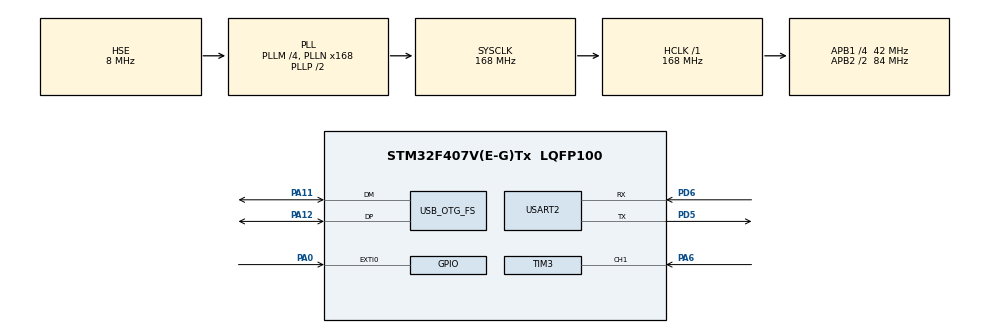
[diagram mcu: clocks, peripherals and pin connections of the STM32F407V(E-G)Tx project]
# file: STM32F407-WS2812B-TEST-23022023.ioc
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Dma.Request0=USART2_RX
Dma.USART2_RX.0.Direction=DMA_PERIPH_TO_MEMORY
Dma.USART2_RX.0.FIFOMode=DMA_FIFOMODE_DISABLE
Dma.USART2_RX.0.Instance=DMA1_Stream5
Dma.USART2_RX.0.MemDataAlignment=DMA_MDATAALIGN_BYTE
Dma.USART2_RX.0.MemInc=DMA_MINC_ENABLE
Dma.USART2_RX.0.Mode=DMA_NORMAL
Dma.USART2_RX.0.PeriphDataAlignment=DMA_PDATAALIGN_BYTE
Dma.USART2_RX.0.PeriphInc=DMA_PINC_DISABLE
Dma.USART2_RX.0.Priority=DMA_PRIORITY_LOW
Mcu.Family=STM32F4
Mcu.Name=STM32F407V(E-G)Tx
Mcu.Package=LQFP100
NVIC.DMA1_Stream5_IRQn=true\:0\:0\:false\:false\:true\:false\:true\:true
NVIC.EXTI0_IRQn=true\:0\:0\:false\:false\:true\:true\:true\:true
NVIC.OTG_FS_IRQn=true\:0\:0\:false\:false\:true\:false\:true\:true
NVIC.PriorityGroup=NVIC_PRIORITYGROUP_4
NVIC.TIM3_IRQn=true\:0\:0\:false\:false\:true\:true\:true\:true
NVIC.USART2_IRQn=true\:0\:0\:false\:false\:true\:true\:true\:true
PA0-WKUP.GPIO_ModeDefaultEXTI=GPIO_MODE_IT_RISING
PA0-WKUP.GPIO_PuPd=GPIO_PULLDOWN
PA0-WKUP.Signal=GPXTI0
PA11.Mode=Device_Only
PA11.Signal=USB_OTG_FS_DM
PA12.Mode=Device_Only
PA12.Signal=USB_OTG_FS_DP
PA13.Mode=Trace_Asynchronous_SW
PA13.Signal=SYS_JTMS-SWDIO
PA14.Mode=Trace_Asynchronous_SW
PA14.Signal=SYS_JTCK-SWCLK
PA6.GPIO_PuPd=GPIO_PULLUP
PA6.GPIO_Speed=GPIO_SPEED_FREQ_MEDIUM
PA6.Signal=S_TIM3_CH1
PB3.Mode=Trace_Asynchronous_SW
PB3.Signal=SYS_JTDO-SWO
PD5.Mode=Asynchronous
PD5.Signal=USART2_TX
PD6.Mode=Asynchronous
PD6.Signal=USART2_RX
PH0-OSC_IN.Mode=HSE-External-Oscillator
PH0-OSC_IN.Signal=RCC_OSC_IN
PH1-OSC_OUT.Mode=HSE-External-Oscillator
PH1-OSC_OUT.Signal=RCC_OSC_OUT
ProjectManager.HeapSize=0x200
ProjectManager.StackSize=0x400
ProjectManager.TargetToolchain=STM32CubeIDE
RCC.48MHZClocksFreq_Value=48000000
RCC.AHBFreq_Value=168000000
RCC.APB1CLKDivider=RCC_HCLK_DIV4
RCC.APB1Freq_Value=42000000
RCC.APB1TimFreq_Value=84000000
RCC.APB2CLKDivider=RCC_HCLK_DIV2
RCC.APB2Freq_Value=84000000
RCC.APB2TimFreq_Value=168000000
RCC.CortexFreq_Value=168000000
RCC.HCLKFreq_Value=168000000
RCC.HSE_VALUE=8000000
RCC.HSI_VALUE=16000000
RCC.LSE_VALUE=32768
RCC.PLLM=4
RCC.PLLN=168
RCC.PLLQ=7
RCC.SYSCLKFreq_VALUE=168000000
RCC.SYSCLKSource=RCC_SYSCLKSOURCE_PLLCLK
RCC.VCOOutputFreq_Value=336000000
SH.S_TIM3_CH1.0=TIM3_CH1,Input_Capture1_from_TI1
TIM3.Channel-Input_Capture1_from_TI1=TIM_CHANNEL_1
TIM3.ICFilter_CH1=15
TIM3.ICPolarity_CH1=TIM_INPUTCHANNELPOLARITY_FALLING
TIM3.Prescaler=84
USART2.VirtualMode=VM_ASYNC
USB_DEVICE.CLASS_NAME_FS=CDC
USB_DEVICE.PRODUCT_STRING_CDC_FS=STM32 NEOPIXEL DRIVER
USB_DEVICE.USBD_MAX_STR_DESC_SIZ-CDC_FS=64
USB_DEVICE.VirtualMode-CDC_FS=Cdc
USB_DEVICE.VirtualModeFS=Cdc_FS
USB_OTG_FS.VirtualMode=Device_Only
VP_TIM1_VS_ClockSourceINT.Mode=Internal
VP_TIM3_VS_ClockSourceINT.Mode=Internal
VP_USB_DEVICE_VS_USB_DEVICE_CDC_FS.Mode=CDC_FS
board=custom

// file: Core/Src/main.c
/* USER CODE BEGIN Header */
/**
  ******************************************************************************
  * @file           : main.c
  * @brief          : Main program body
  ******************************************************************************
  * @attention
  *
  * Copyright (c) 2023 STMicroelectronics.
  * All rights reserved.
  *
  * This software is licensed under terms that can be found in the LICENSE file
  * in the root directory of this software component.
  * If no LICENSE file comes with this software, it is provided AS-IS.
  *
  ******************************************************************************
  */
/* USER CODE END Header */
#include "main.h"
#include "usb_device.h"

/* USER CODE BEGIN Includes */
//#include "visEffect.h"
#include "usbd_cdc_if.h"
#include "ws2812b.h"
#include "nonvmem.h"
#include "irDecoder.h"
#include <stdint.h>
#include <stdlib.h>
#include <stdio.h>
#include <string.h>
#include "ledEffects.h"
/* USER CODE END Includes */

TIM_HandleTypeDef htim1;
TIM_HandleTypeDef htim3;

UART_HandleTypeDef huart2;
DMA_HandleTypeDef hdma_usart2_rx;

/* USER CODE BEGIN PV */
#define UART_BUFF_SIZE 50
 uint8_t UART_DmaBuffer[UART_BUFF_SIZE];
 uint8_t UART_CpltBuffer[UART_BUFF_SIZE];
  uint8_t UART_GET_IR_SENTENCE[6] = {'G', 'E', 'T', '_', 'I','R'};
  uint8_t UART_GET_IR_RESPONSE[] = {'\n', 'W','A','I','T','I','N','G', '_', 'F','O', 'R', '_', 'I', 'R', '\n'};
  uint8_t UART_ROUTINES_READ_SENTENCE[13] =
 	 {'R', 'O', 'U', 'T', 'I', 'N', 'E', 'S', '_', 'R', 'E', 'A', 'D'};
  uint8_t UART_ROUTINES_WRITE_SENTENCE[14] =
  	 {'R', 'O', 'U', 'T', 'I', 'N', 'E', 'S', '_', 'W', 'R', 'I', 'T', 'E'};
  uint8_t UART_ROUTINES_WRITE_RESPONSE[] = {'\n', 'W','A','I','T','I','N','G'};
  uint8_t UART_ROUTINES_SAVE_SENTENCE[11] =
   	 {'M', 'E', 'M', 'O', 'R', 'Y', '_', 'S', 'A', 'V', 'E'};
  uint8_t UART_ROUTINES_PURGE_SAVED_SENTENCE[9] =
   	 {'P', 'U', 'R', 'G', 'E', '_', 'M', 'E', 'M'};
  uint8_t UART_SET_TIME[] = {'S', 'E', 'T', '_', 'T', 'I', 'M', 'E'};
  uint8_t *UART_SET_TIME_RESPONSE = "Example: - For date&time Thursday, December 25, 2014 22:05:12, you have to use string below: 25.12.14.4;22:05:12";

  uint8_t UART_RESPONSE_OK[] = {'\n', 'o', 'k'};
  uint8_t UART_RESPONSE_END[] = {'\n','o', 'k', '_', 'e', 'n','d'};

  uint8_t UART_SENTENCE_TAIL_BYTES = 2;
  uint8_t UART_SENTENCE_HEAD_BYTES = 3;
volatile uint16_t UART_BytesReceived = 0;

uint8_t GET_IR_FLAG = 0;
uint8_t ROUTINES_WRITE_FLAG = 0;
uint8_t SET_TIME_FLAG = 0;
// Saving Variables
uint8_t SAVING_IR_POS = 0, SAVING_TIME_POS = 0;

/* USER CODE END PV */

void SystemClock_Config(void);
static void MX_GPIO_Init(void);
static void MX_DMA_Init(void);
static void MX_TIM1_Init(void);
static void MX_TIM3_Init(void);
static void MX_USART2_UART_Init(void);
/* USER CODE BEGIN PFP */

uint8_t USB_RX_BUFF[64];
uint8_t USB_RX_BYTES_RECEIVED = 0;

void HAL_GPIO_EXTI_Callback(uint16_t GPIO_Pin)
{
  if( ACTIVE_EFFECT_NB == 0)
  {
	  ACTIVE_EFFECT_TYPE = 1;
	  ACTIVE_EFFECT_NB = 1;
  }else
  {
	  ACTIVE_EFFECT_TYPE = 0;
	  ACTIVE_EFFECT_NB = 0;
  }
}
void HAL_TIM_IC_CaptureCallback(TIM_HandleTypeDef *htim)
{
	irIRQ();
}
//void HAL_UARTEx_RxEventCallback(UART_HandleTypeDef *huart, uint16_t size){
//
//		if(huart->Instance == USART2)
//		{
//		//		HAL_UART_Transmit(&huart1, UART1_CpltBuffer, sizeof(UART1_CpltBuffer), 100);
//			UART_BytesReceived = size;
//			memcpy(UART_CpltBuffer, UART_DmaBuffer, UART_BUFF_SIZE);
//			HAL_UARTEx_ReceiveToIdle_DMA(&huart2, (uint8_t *) UART_DmaBuffer, UART_BUFF_SIZE);
//			__HAL_DMA_DISABLE_IT(&hdma_usart2_rx, DMA_IT_HT);
//		}
//
//}
void SendRoutinesOverUart()
{
	HAL_UART_Transmit(&huart2, (uint8_t *)"\nIR:\n", 5, 100);
	for(int i = 0; i < MAX_IR_CODES; i++)
	{
		HAL_UART_Transmit(&huart2, (uint8_t *)"n:", 2, 100);

		for(int j = 0; j<BYTES_PER_IR_CODE; j++)
			HAL_UART_Transmit(&huart2, &IR_CODES_FLAGS[i][j], 1, 100);
		for(int k = 0; k<BYTES_PER_EFFECT; k++)
			HAL_UART_Transmit(&huart2, &IR_CODES_MACROS[i][k], 1, 100);

		HAL_UART_Transmit(&huart2, (uint8_t *)'\n', 1, 100);
	}
	HAL_UART_Transmit(&huart2, (uint8_t *)"\nEL:\n", 5, 100);

	for(int i = 0; i < MAX_ELE_INPUTS; i++)
	{
		HAL_UART_Transmit(&huart2, (uint8_t *)"n:", 2, 100);
		HAL_UART_Transmit(&huart2, (uint8_t *)i, 1, 100);

		for(int k = 0; k<BYTES_PER_EFFECT; k++)
			HAL_UART_Transmit(&huart2, &ELE_INPUT_MACROS[i][k], 1, 100);

		HAL_UART_Transmit(&huart2,(uint8_t *) '\n', 1, 100);
	}
	HAL_UART_Transmit(&huart2, (uint8_t *)"\nTM:\n", 5, 100);
	for(int i = 0; i < MAX_TIME_MACROS; i++)
	{
		HAL_UART_Transmit(&huart2, (uint8_t *)"n:", 2, 100);
		for(int j = 0; j<BYTES_PER_TIME_FLAG; j++)
			HAL_UART_Transmit(&huart2, &TIME_FLAGS[i][j], 1, 100);
		for(int k = 0; k<BYTES_PER_EFFECT; k++)
			HAL_UART_Transmit(&huart2, &TIME_MACROS[i][k], 1, 100);
		HAL_UART_Transmit(&huart2,(uint8_t *) '\n', 1, 100);
	}

}
void UartCheckReceived()
{
	if(USB_RX_BYTES_RECEIVED > 0)
	{
		if(ROUTINES_WRITE_FLAG == 1)
		{
			if(USB_RX_BYTES_RECEIVED >= 3 && USB_RX_BUFF[0] == 'E' && USB_RX_BUFF[1] == 'N' && USB_RX_BUFF[2] == 'D' )
			{
				CDC_Transmit_FS(UART_RESPONSE_END, sizeof(UART_RESPONSE_END));
				ROUTINES_WRITE_FLAG = 0;
				SAVING_IR_POS = 0;
				SAVING_TIME_POS = 0;

			}else if(USB_RX_BYTES_RECEIVED >= 14 && USB_RX_BUFF[0] == 'S' && USB_RX_BUFF[1] == 'V' && USB_RX_BUFF[2] == '+'){

				if(USB_RX_BYTES_RECEIVED >= 15 && USB_RX_BUFF[3] == 'I' && USB_RX_BUFF[4] == 'R')
				{
					if(SAVING_IR_POS < MAX_IR_CODES)
					{
						//IR ADDR
						IR_CODES_FLAGS[SAVING_IR_POS][0] = USB_RX_BUFF[5];
						//IR COMMAND
						IR_CODES_FLAGS[SAVING_IR_POS][1] = USB_RX_BUFF[6];
						//ACTIVE STRIPS
						IR_CODES_MACROS[SAVING_IR_POS][0] = USB_RX_BUFF[8];
						IR_CODES_MACROS[SAVING_IR_POS][1] = USB_RX_BUFF[9];
						//EFFECT
						IR_CODES_MACROS[SAVING_IR_POS][2] = USB_RX_BUFF[11];
						IR_CODES_MACROS[SAVING_IR_POS][3] = USB_RX_BUFF[12];
						IR_CODES_MACROS[SAVING_IR_POS][4] = USB_RX_BUFF[13];
						IR_CODES_MACROS[SAVING_IR_POS][5] = USB_RX_BUFF[14];

						SAVING_IR_POS++;
						CDC_Transmit_FS(UART_RESPONSE_OK, sizeof(UART_RESPONSE_OK));
					}
				} else if(USB_RX_BUFF[3] == 'E' && USB_RX_BUFF[4] == 'L')
				{
					if(USB_RX_BUFF[5] < MAX_ELE_INPUTS)
					{
						//ACTIVE STRIPS
						ELE_INPUT_MACROS[USB_RX_BUFF[5]][0] = USB_RX_BUFF[7];
						ELE_INPUT_MACROS[USB_RX_BUFF[5]][1] = USB_RX_BUFF[8];
						//EFFECT
						ELE_INPUT_MACROS[USB_RX_BUFF[5]][2] = USB_RX_BUFF[10];
						ELE_INPUT_MACROS[USB_RX_BUFF[5]][3] = USB_RX_BUFF[11];
						ELE_INPUT_MACROS[USB_RX_BUFF[5]][4] = USB_RX_BUFF[12];
						ELE_INPUT_MACROS[USB_RX_BUFF[5]][5] = USB_RX_BUFF[13];
						CDC_Transmit_FS(UART_RESPONSE_OK, sizeof(UART_RESPONSE_OK));
					}
				} else if(USB_RX_BYTES_RECEIVED >= 17 && USB_RX_BUFF[3] == 'T' && USB_RX_BUFF[4] == 'M')
				{
					if(SAVING_TIME_POS < MAX_TIME_MACROS)
					{
						//START TIME
						TIME_FLAGS[SAVING_TIME_POS][0] = USB_RX_BUFF[5];
						TIME_FLAGS[SAVING_TIME_POS][1] = USB_RX_BUFF[6];
						//FOR TIME (TWO 8BITS = 1 16BIT)
						TIME_FLAGS[SAVING_TIME_POS][2] = USB_RX_BUFF[7];
						TIME_FLAGS[SAVING_TIME_POS][3] = USB_RX_BUFF[8];
						//ACTIVE STRIPS
						TIME_MACROS[SAVING_TIME_POS][0] = USB_RX_BUFF[10];
						TIME_MACROS[SAVING_TIME_POS][1] = USB_RX_BUFF[11];
						//EFFECT
						TIME_MACROS[SAVING_TIME_POS][0] = USB_RX_BUFF[13];
						TIME_MACROS[SAVING_TIME_POS][1] = USB_RX_BUFF[13];
						TIME_MACROS[SAVING_TIME_POS][2] = USB_RX_BUFF[13];
						TIME_MACROS[SAVING_TIME_POS][3] = USB_RX_BUFF[13];

						SAVING_TIME_POS++;
						CDC_Transmit_FS(UART_RESPONSE_OK, sizeof(UART_RESPONSE_OK));
					}
				}

			}

		}else if(UART_SET_TIME == 1)
		{
			/*GET TIME HERE*/
		}else if(USB_RX_BYTES_RECEIVED == 4)
		{
			  if(USB_RX_BUFF[0] == 'A' && USB_RX_BUFF[1] == 'T' && USB_RX_BUFF[2] == '\r' && USB_RX_BUFF[3] == '\n')
			  {
				  CDC_Transmit_FS(UART_RESPONSE_OK, sizeof(UART_RESPONSE_OK));
			  }
		}else if(USB_RX_BYTES_RECEIVED > 4 && USB_RX_BUFF[0] == 'A' && USB_RX_BUFF[1] == 'T' && USB_RX_BUFF[2] == '+')
		  	  {
			  	  if(USB_RX_BYTES_RECEIVED == UART_SENTENCE_HEAD_BYTES+UART_SENTENCE_TAIL_BYTES+(uint8_t)sizeof(UART_GET_IR_SENTENCE))
			  	  {
					  uint8_t UART_GET_IR_FLAG = 1;
					  for(int i = 0; i<sizeof(UART_GET_IR_SENTENCE); i++)
						  if(USB_RX_BUFF[i+UART_SENTENCE_HEAD_BYTES] !=  UART_GET_IR_SENTENCE[i])
							  UART_GET_IR_FLAG = 0;
					  GET_IR_FLAG = UART_GET_IR_FLAG;

					  CDC_Transmit_FS(UART_GET_IR_RESPONSE, sizeof(UART_GET_IR_RESPONSE));
			  	  }
			  	  if(USB_RX_BYTES_RECEIVED == UART_SENTENCE_HEAD_BYTES+UART_SENTENCE_TAIL_BYTES+(uint8_t)sizeof(UART_ROUTINES_READ_SENTENCE))
			  	  {
					  uint8_t UART_ROUTINES_READ_FLAG = 1;
					  for(int i = 0; i<sizeof(UART_ROUTINES_READ_SENTENCE); i++)
						  if(USB_RX_BUFF[i+UART_SENTENCE_HEAD_BYTES] !=  UART_ROUTINES_READ_SENTENCE[i])
							  UART_ROUTINES_READ_FLAG = 0;
					  if(UART_ROUTINES_READ_FLAG == 1)
						  SendRoutinesOverUart();
			  	  }
			  	  if(USB_RX_BYTES_RECEIVED == UART_SENTENCE_HEAD_BYTES+UART_SENTENCE_TAIL_BYTES+(uint8_t)sizeof(UART_ROUTINES_WRITE_SENTENCE))
			  	  {
					  uint8_t UART_ROUTINES_WRITE_FLAG = 1;
					  for(int i = 0; i<sizeof(UART_ROUTINES_WRITE_SENTENCE); i++)
						  if(USB_RX_BUFF[i+UART_SENTENCE_HEAD_BYTES] !=  UART_ROUTINES_WRITE_SENTENCE[i])
							  UART_ROUTINES_WRITE_FLAG = 0;
					  ROUTINES_WRITE_FLAG = UART_ROUTINES_WRITE_FLAG;
					  if(UART_ROUTINES_WRITE_FLAG == 1)
						  CDC_Transmit_FS(UART_ROUTINES_WRITE_RESPONSE, sizeof(UART_ROUTINES_WRITE_RESPONSE));
			  	  }
			  	  if(USB_RX_BYTES_RECEIVED == UART_SENTENCE_HEAD_BYTES+UART_SENTENCE_TAIL_BYTES+(uint8_t)sizeof(UART_ROUTINES_SAVE_SENTENCE))
			  	  {
			  		uint8_t UART_ROUTINES_SAVE_FLAG = 1;
			  		for(int i = 0; i<sizeof(UART_ROUTINES_SAVE_SENTENCE); i++)
			  			if(USB_RX_BUFF[i+UART_SENTENCE_HEAD_BYTES] !=  UART_ROUTINES_SAVE_SENTENCE[i])
			  				UART_ROUTINES_SAVE_FLAG = 0;
			  		if(UART_ROUTINES_SAVE_FLAG == 1)
			  			{
			  				saveMem();
			  				CDC_Transmit_FS(UART_RESPONSE_OK, sizeof(UART_RESPONSE_OK));
			  			}
			  	  }
			  	  if(USB_RX_BYTES_RECEIVED == UART_SENTENCE_HEAD_BYTES+UART_SENTENCE_TAIL_BYTES+(uint8_t)sizeof(UART_ROUTINES_PURGE_SAVED_SENTENCE))
			  	  {
			  		uint8_t UART_ROUTINES_PURGE_SAVED_FLAG = 1;
					for(int i = 0; i<sizeof(UART_ROUTINES_PURGE_SAVED_SENTENCE); i++)
						if(USB_RX_BUFF[i+UART_SENTENCE_HEAD_BYTES] !=  UART_ROUTINES_PURGE_SAVED_SENTENCE[i])
							UART_ROUTINES_PURGE_SAVED_FLAG = 0;
					if(UART_ROUTINES_PURGE_SAVED_FLAG == 1)
					{
						purgeSaved(2000);
						readMem();
						CDC_Transmit_FS(UART_RESPONSE_OK, sizeof(UART_RESPONSE_OK));
					}
			  	  }
			  	  if(USB_RX_BYTES_RECEIVED == UART_SENTENCE_HEAD_BYTES+UART_SENTENCE_TAIL_BYTES+(uint8_t)sizeof(UART_SET_TIME))
			  	  {
			  		  SET_TIME_FLAG = 1;
			  		  for(int i = 0; i<sizeof(UART_SET_TIME); i++)
			  			  if(USB_RX_BUFF[i+UART_SENTENCE_HEAD_BYTES] !=  UART_SET_TIME[i])
			  				SET_TIME_FLAG = 0;
			  		  if(SET_TIME_FLAG == 1)
			  			  CDC_Transmit_FS(UART_SET_TIME_RESPONSE, sizeof(UART_SET_TIME_RESPONSE));
			  	  }
		  	  }
		  USB_RX_BYTES_RECEIVED = 0;
	}
}
//void UartCheckReceived()
//{
//	if(UART_BytesReceived > 0)
//	{
//		if(ROUTINES_WRITE_FLAG == 1)
//		{
//			if(UART_BytesReceived >= 3 && UART_CpltBuffer[0] == 'E' && UART_CpltBuffer[1] == 'N' && UART_CpltBuffer[2] == 'D' )
//			{
//				HAL_UART_Transmit(&huart2, UART_RESPONSE_END, sizeof(UART_RESPONSE_END), 100);
//				ROUTINES_WRITE_FLAG = 0;
//				SAVING_IR_POS = 0;
//				SAVING_TIME_POS = 0;
//
//			}else if(UART_BytesReceived >= 14 && UART_CpltBuffer[0] == 'S' && UART_CpltBuffer[1] == 'V' && UART_CpltBuffer[2] == '+'){
//
//				if(UART_BytesReceived >= 15 && UART_CpltBuffer[3] == 'I' && UART_CpltBuffer[4] == 'R')
//				{
//					if(SAVING_IR_POS < MAX_IR_CODES)
//					{
//						//IR ADDR
//						IR_CODES_FLAGS[SAVING_IR_POS][0] = UART_CpltBuffer[5];
//						//IR COMMAND
//						IR_CODES_FLAGS[SAVING_IR_POS][1] = UART_CpltBuffer[6];
//						//ACTIVE STRIPS
//						IR_CODES_MACROS[SAVING_IR_POS][0] = UART_CpltBuffer[8];
//						IR_CODES_MACROS[SAVING_IR_POS][1] = UART_CpltBuffer[9];
//						//EFFECT
//						IR_CODES_MACROS[SAVING_IR_POS][2] = UART_CpltBuffer[11];
//						IR_CODES_MACROS[SAVING_IR_POS][3] = UART_CpltBuffer[12];
//						IR_CODES_MACROS[SAVING_IR_POS][4] = UART_CpltBuffer[13];
//						IR_CODES_MACROS[SAVING_IR_POS][5] = UART_CpltBuffer[14];
//
//						SAVING_IR_POS++;
//						HAL_UART_Transmit(&huart2, UART_RESPONSE_OK, sizeof(UART_RESPONSE_OK), 100);
//					}
//				} else if(UART_CpltBuffer[3] == 'E' && UART_CpltBuffer[4] == 'L')
//				{
//					if(UART_CpltBuffer[5] < MAX_ELE_INPUTS)
//					{
//						//ACTIVE STRIPS
//						ELE_INPUT_MACROS[UART_CpltBuffer[5]][0] = UART_CpltBuffer[7];
//						ELE_INPUT_MACROS[UART_CpltBuffer[5]][1] = UART_CpltBuffer[8];
//						//EFFECT
//						ELE_INPUT_MACROS[UART_CpltBuffer[5]][2] = UART_CpltBuffer[10];
//						ELE_INPUT_MACROS[UART_CpltBuffer[5]][3] = UART_CpltBuffer[11];
//						ELE_INPUT_MACROS[UART_CpltBuffer[5]][4] = UART_CpltBuffer[12];
//						ELE_INPUT_MACROS[UART_CpltBuffer[5]][5] = UART_CpltBuffer[13];
//						HAL_UART_Transmit(&huart2, UART_RESPONSE_OK, sizeof(UART_RESPONSE_OK), 100);
//					}
//				} else if(UART_BytesReceived >= 17 && UART_CpltBuffer[3] == 'T' && UART_CpltBuffer[4] == 'M')
//				{
//					if(SAVING_TIME_POS < MAX_TIME_MACROS)
//					{
//						//START TIME
//						TIME_FLAGS[SAVING_TIME_POS][0] = UART_CpltBuffer[5];
//						TIME_FLAGS[SAVING_TIME_POS][1] = UART_CpltBuffer[6];
//						//FOR TIME (TWO 8BITS = 1 16BIT)
//						TIME_FLAGS[SAVING_TIME_POS][2] = UART_CpltBuffer[7];
//						TIME_FLAGS[SAVING_TIME_POS][3] = UART_CpltBuffer[8];
//						//ACTIVE STRIPS
//						TIME_MACROS[SAVING_TIME_POS][0] = UART_CpltBuffer[10];
//						TIME_MACROS[SAVING_TIME_POS][1] = UART_CpltBuffer[11];
//						//EFFECT
//						TIME_MACROS[SAVING_TIME_POS][0] = UART_CpltBuffer[13];
//						TIME_MACROS[SAVING_TIME_POS][1] = UART_CpltBuffer[13];
//						TIME_MACROS[SAVING_TIME_POS][2] = UART_CpltBuffer[13];
//						TIME_MACROS[SAVING_TIME_POS][3] = UART_CpltBuffer[13];
//
//						SAVING_TIME_POS++;
//						HAL_UART_Transmit(&huart2, UART_RESPONSE_OK, sizeof(UART_RESPONSE_OK), 100);
//					}
//				}
//
//			}
//
//		}else if(UART_BytesReceived == 4)
//		{
//			  if(UART_CpltBuffer[0] == 'A' && UART_CpltBuffer[1] == 'T' && UART_CpltBuffer[2] == '\r' && UART_CpltBuffer[3] == '\n')
//			  {
//				HAL_UART_Transmit(&huart2, UART_RESPONSE_OK, sizeof(UART_RESPONSE_OK), 100);
//			  }
//		}else if(UART_BytesReceived > 4 && UART_CpltBuffer[0] == 'A' && UART_CpltBuffer[1] == 'T' && UART_CpltBuffer[2] == '+')
//		  	  {
//			  	  if(UART_BytesReceived == UART_SENTENCE_HEAD_BYTES+UART_SENTENCE_TAIL_BYTES+(uint8_t)sizeof(UART_GET_IR_SENTENCE))
//			  	  {
//					  uint8_t UART_GET_IR_FLAG = 1;
//					  for(int i = 0; i<sizeof(UART_GET_IR_SENTENCE); i++)
//						  if(UART_CpltBuffer[i+UART_SENTENCE_HEAD_BYTES] !=  UART_GET_IR_SENTENCE[i])
//							  UART_GET_IR_FLAG = 0;
//					  GET_IR_FLAG = UART_GET_IR_FLAG;
//
//					  HAL_UART_Transmit(&huart2, UART_GET_IR_RESPONSE, sizeof(UART_GET_IR_RESPONSE), 100);
//			  	  }
//			  	  if(UART_BytesReceived == UART_SENTENCE_HEAD_BYTES+UART_SENTENCE_TAIL_BYTES+(uint8_t)sizeof(UART_ROUTINES_READ_SENTENCE))
//			  	  {
//					  uint8_t UART_ROUTINES_READ_FLAG = 1;
//					  for(int i = 0; i<sizeof(UART_ROUTINES_READ_SENTENCE); i++)
//						  if(UART_CpltBuffer[i+UART_SENTENCE_HEAD_BYTES] !=  UART_ROUTINES_READ_SENTENCE[i])
//							  UART_ROUTINES_READ_FLAG = 0;
//					  if(UART_ROUTINES_READ_FLAG == 1)
//						  SendRoutinesOverUart();
//			  	  }
//			  	  if(UART_BytesReceived == UART_SENTENCE_HEAD_BYTES+UART_SENTENCE_TAIL_BYTES+(uint8_t)sizeof(UART_ROUTINES_WRITE_SENTENCE))
//			  	  {
//					  uint8_t UART_ROUTINES_WRITE_FLAG = 1;
//					  for(int i = 0; i<sizeof(UART_ROUTINES_WRITE_SENTENCE); i++)
//						  if(UART_CpltBuffer[i+UART_SENTENCE_HEAD_BYTES] !=  UART_ROUTINES_WRITE_SENTENCE[i])
//							  UART_ROUTINES_WRITE_FLAG = 0;
//					  ROUTINES_WRITE_FLAG = UART_ROUTINES_WRITE_FLAG;
//					  if(UART_ROUTINES_WRITE_FLAG == 1)
//						  HAL_UART_Transmit(&huart2, UART_ROUTINES_WRITE_RESPONSE, sizeof(UART_ROUTINES_WRITE_RESPONSE), 100);
//			  	  }
//			  	  if(UART_BytesReceived == UART_SENTENCE_HEAD_BYTES+UART_SENTENCE_TAIL_BYTES+(uint8_t)sizeof(UART_ROUTINES_SAVE_SENTENCE))
//			  	  {
//			  		uint8_t UART_ROUTINES_SAVE_FLAG = 1;
//			  		for(int i = 0; i<sizeof(UART_ROUTINES_SAVE_SENTENCE); i++)
//			  			if(UART_CpltBuffer[i+UART_SENTENCE_HEAD_BYTES] !=  UART_ROUTINES_SAVE_SENTENCE[i])
//			  				UART_ROUTINES_SAVE_FLAG = 0;
//			  		if(UART_ROUTINES_SAVE_FLAG == 1)
//			  			{
//			  				saveMem();
//			  				HAL_UART_Transmit(&huart2, UART_RESPONSE_OK, sizeof(UART_RESPONSE_OK), 100);
//			  			}
//
//
//			  	  }
//			  	  if(UART_BytesReceived == UART_SENTENCE_HEAD_BYTES+UART_SENTENCE_TAIL_BYTES+(uint8_t)sizeof(UART_ROUTINES_PURGE_SAVED_SENTENCE))
//			  	  {
//			  		uint8_t UART_ROUTINES_PURGE_SAVED_FLAG = 1;
//					for(int i = 0; i<sizeof(UART_ROUTINES_PURGE_SAVED_SENTENCE); i++)
//						if(UART_CpltBuffer[i+UART_SENTENCE_HEAD_BYTES] !=  UART_ROUTINES_PURGE_SAVED_SENTENCE[i])
//							UART_ROUTINES_PURGE_SAVED_FLAG = 0;
//					if(UART_ROUTINES_PURGE_SAVED_FLAG == 1)
//					{
//						purgeSaved(2000);
//						readMem();
//						HAL_UART_Transmit(&huart2, UART_RESPONSE_OK, sizeof(UART_RESPONSE_OK), 100);
//					}
//			  	  }
//		  	  }
//		  UART_BytesReceived = 0;
//	}
//}
void irCallback(uint16_t addr, uint16_t comm)
{
	if(GET_IR_FLAG)
	{
		char irAsci[30] = {' '};
		sprintf(irAsci, "ADR: %d, COM: %d", (int)addr, (int)comm);
		HAL_UART_Transmit(&huart2, (uint8_t *)irAsci, strlen(irAsci), 100);
		GET_IR_FLAG = 0;
	}else
	{
		for(uint8_t i = 0; i < MAX_IR_CODES; i++)
		{
			if(IR_CODES_FLAGS[i][0] == addr && IR_CODES_FLAGS[i][1] == comm)
			{
				if(ACTIVE_EFFECT_NB == i && ACTIVE_EFFECT_TYPE == 2)
				{
					ACTIVE_EFFECT_NB = 0;
					ACTIVE_EFFECT_TYPE = 0;
				}else
				{
					ACTIVE_EFFECT_NB = i;
					ACTIVE_EFFECT_TYPE = 2;
				}

			}
		}
	}

}
/* USER CODE END PFP */

/* USER CODE BEGIN 0 */

//void HAL_UART_RxCpltCallback(UART_HandleTypeDef *huart)
//{
//    HAL_UART_Transmit(&huart1, UART1_rxBuffer, 4, 100);
//    HAL_UART_Receive_IT(&huart1, UART1_rxBuffer, 4);
//}

/* USER CODE END 0 */

int main(void)
{

  /* MCU Configuration--------------------------------------------------------*/

  /* Reset of all peripherals, Initializes the Flash interface and the Systick. */
  HAL_Init();

  /* Configure the system clock */
  SystemClock_Config();

  /* Initialize all configured peripherals */
  MX_GPIO_Init();
  MX_DMA_Init();
  MX_TIM1_Init();
  MX_TIM3_Init();
  MX_USART2_UART_Init();
  MX_USB_DEVICE_Init();
  /* USER CODE BEGIN 2 */

//  irSetup(&htim3, &huart1);

  HAL_UARTEx_ReceiveToIdle_DMA(&huart2, (uint8_t *) UART_CpltBuffer, UART_BUFF_SIZE);
  __HAL_DMA_DISABLE_IT(&hdma_usart2_rx, DMA_IT_HT);
  irSetup(&htim3, &huart2);

//  *(__IO uint8_t *) (BKPSRAM_BASE + 1) = 'c';
//  uint8_t x = (*(__IO uint8_t *) (BKPSRAM_BASE + 1));
//  purgeSaved(2000);

//  IR_CODES_FLAGS[0][0] = 'J';
//  IR_CODES_FLAGS[0][1] = 'P';
//  saveMem();
  //readMem();
//  HAL_UART_Transmit(&huart1, &IR_CODES_FLAGS[0][0], sizeof(IR_CODES_FLAGS[0][0]), 100);
//  HAL_UART_Transmit(&huart1, &IR_CODES_FLAGS[0][1], sizeof(IR_CODES_FLAGS[0][1]), 100);
  //HAL_TIM_Base_Start_IT(&htim3);
//  HAL_TIM_IC_Start_IT(&htim3, TIM_CHANNEL_1);
  for(uint8_t i = 0; i < WS2812_BUFFER_COUNT; i++)
	{
	  ws2812b.item[i].channel = i;
	  ws2812b.item[i].frameBufferPointer = &frameBufferArray[i][0];
	  ws2812b.item[i].frameBufferSize = WS2812B_NUMBER_OF_LEDS*3;
	}
  ws2812b_init();

  ELE_INPUT_MACROS[1][0] = 0xFF;
  ELE_INPUT_MACROS[1][1] = 0xFF;
  ELE_INPUT_MACROS[1][2] = 1;
  ELE_INPUT_MACROS[1][3] = 40;
  IR_CODES_FLAGS[1][0] = 48;
  IR_CODES_FLAGS[1][1] = 64;
  IR_CODES_MACROS[1][0] = 0xFF;
  IR_CODES_MACROS[1][1] = 0xFF;
  IR_CODES_MACROS[1][2] = 1;
  IR_CODES_MACROS[1][3] = 40;
  /* USER CODE END 2 */

  /* Infinite loop */
  /* USER CODE BEGIN WHILE */

  while (1)
  {
	  //irHandle(irCallback);
	  UartCheckReceived();
	  irHandle(irCallback);
	  effectsLoop();
    /* USER CODE END WHILE */

  }
}

void SystemClock_Config(void)
{
  RCC_OscInitTypeDef RCC_OscInitStruct = {0};
  RCC_ClkInitTypeDef RCC_ClkInitStruct = {0};

  /** Configure the main internal regulator output voltage
  */
  __HAL_RCC_PWR_CLK_ENABLE();
  __HAL_PWR_VOLTAGESCALING_CONFIG(PWR_REGULATOR_VOLTAGE_SCALE1);

  /** Initializes the RCC Oscillators according to the specified parameters
  * in the RCC_OscInitTypeDef structure.
  */
  RCC_OscInitStruct.OscillatorType = RCC_OSCILLATORTYPE_HSE;
  RCC_OscInitStruct.HSEState = RCC_HSE_ON;
  RCC_OscInitStruct.PLL.PLLState = RCC_PLL_ON;
  RCC_OscInitStruct.PLL.PLLSource = RCC_PLLSOURCE_HSE;
  RCC_OscInitStruct.PLL.PLLM = 4;
  RCC_OscInitStruct.PLL.PLLN = 168;
  RCC_OscInitStruct.PLL.PLLP = RCC_PLLP_DIV2;
  RCC_OscInitStruct.PLL.PLLQ = 7;
  if (HAL_RCC_OscConfig(&RCC_OscInitStruct) != HAL_OK)
  {
    Error_Handler();
  }

  /** Initializes the CPU, AHB and APB buses clocks
  */
  RCC_ClkInitStruct.ClockType = RCC_CLOCKTYPE_HCLK|RCC_CLOCKTYPE_SYSCLK
                              |RCC_CLOCKTYPE_PCLK1|RCC_CLOCKTYPE_PCLK2;
  RCC_ClkInitStruct.SYSCLKSource = RCC_SYSCLKSOURCE_PLLCLK;
  RCC_ClkInitStruct.AHBCLKDivider = RCC_SYSCLK_DIV1;
  RCC_ClkInitStruct.APB1CLKDivider = RCC_HCLK_DIV4;
  RCC_ClkInitStruct.APB2CLKDivider = RCC_HCLK_DIV2;

  if (HAL_RCC_ClockConfig(&RCC_ClkInitStruct, FLASH_LATENCY_5) != HAL_OK)
  {
    Error_Handler();
  }
}

static void MX_TIM1_Init(void)
{

  TIM_ClockConfigTypeDef sClockSourceConfig = {0};
  TIM_MasterConfigTypeDef sMasterConfig = {0};

  htim1.Instance = TIM1;
  htim1.Init.Prescaler = 0;
  htim1.Init.CounterMode = TIM_COUNTERMODE_UP;
  htim1.Init.Period = 65535;
  htim1.Init.ClockDivision = TIM_CLOCKDIVISION_DIV1;
  htim1.Init.RepetitionCounter = 0;
  htim1.Init.AutoReloadPreload = TIM_AUTORELOAD_PRELOAD_DISABLE;
  if (HAL_TIM_Base_Init(&htim1) != HAL_OK)
  {
    Error_Handler();
  }
  sClockSourceConfig.ClockSource = TIM_CLOCKSOURCE_INTERNAL;
  if (HAL_TIM_ConfigClockSource(&htim1, &sClockSourceConfig) != HAL_OK)
  {
    Error_Handler();
  }
  sMasterConfig.MasterOutputTrigger = TIM_TRGO_RESET;
  sMasterConfig.MasterSlaveMode = TIM_MASTERSLAVEMODE_DISABLE;
  if (HAL_TIMEx_MasterConfigSynchronization(&htim1, &sMasterConfig) != HAL_OK)
  {
    Error_Handler();
  }

}

static void MX_TIM3_Init(void)
{

  TIM_ClockConfigTypeDef sClockSourceConfig = {0};
  TIM_MasterConfigTypeDef sMasterConfig = {0};
  TIM_IC_InitTypeDef sConfigIC = {0};

  htim3.Instance = TIM3;
  htim3.Init.Prescaler = 84;
  htim3.Init.CounterMode = TIM_COUNTERMODE_UP;
  htim3.Init.Period = 65535;
  htim3.Init.ClockDivision = TIM_CLOCKDIVISION_DIV1;
  htim3.Init.AutoReloadPreload = TIM_AUTORELOAD_PRELOAD_DISABLE;
  if (HAL_TIM_Base_Init(&htim3) != HAL_OK)
  {
    Error_Handler();
  }
  sClockSourceConfig.ClockSource = TIM_CLOCKSOURCE_INTERNAL;
  if (HAL_TIM_ConfigClockSource(&htim3, &sClockSourceConfig) != HAL_OK)
  {
    Error_Handler();
  }
  if (HAL_TIM_IC_Init(&htim3) != HAL_OK)
  {
    Error_Handler();
  }
  sMasterConfig.MasterOutputTrigger = TIM_TRGO_RESET;
  sMasterConfig.MasterSlaveMode = TIM_MASTERSLAVEMODE_DISABLE;
  if (HAL_TIMEx_MasterConfigSynchronization(&htim3, &sMasterConfig) != HAL_OK)
  {
    Error_Handler();
  }
  sConfigIC.ICPolarity = TIM_INPUTCHANNELPOLARITY_FALLING;
  sConfigIC.ICSelection = TIM_ICSELECTION_DIRECTTI;
  sConfigIC.ICPrescaler = TIM_ICPSC_DIV1;
  sConfigIC.ICFilter = 15;
  if (HAL_TIM_IC_ConfigChannel(&htim3, &sConfigIC, TIM_CHANNEL_1) != HAL_OK)
  {
    Error_Handler();
  }

}

static void MX_USART2_UART_Init(void)
{

  huart2.Instance = USART2;
  huart2.Init.BaudRate = 115200;
  huart2.Init.WordLength = UART_WORDLENGTH_8B;
  huart2.Init.StopBits = UART_STOPBITS_1;
  huart2.Init.Parity = UART_PARITY_NONE;
  huart2.Init.Mode = UART_MODE_TX_RX;
  huart2.Init.HwFlowCtl = UART_HWCONTROL_NONE;
  huart2.Init.OverSampling = UART_OVERSAMPLING_16;
  if (HAL_UART_Init(&huart2) != HAL_OK)
  {
    Error_Handler();
  }

}

static void MX_DMA_Init(void)
{

  /* DMA controller clock enable */
  __HAL_RCC_DMA1_CLK_ENABLE();

  /* DMA interrupt init */
  /* DMA1_Stream5_IRQn interrupt configuration */
  HAL_NVIC_SetPriority(DMA1_Stream5_IRQn, 0, 0);
  HAL_NVIC_EnableIRQ(DMA1_Stream5_IRQn);

}

static void MX_GPIO_Init(void)
{
  GPIO_InitTypeDef GPIO_InitStruct = {0};

  /* GPIO Ports Clock Enable */
  __HAL_RCC_GPIOH_CLK_ENABLE();
  __HAL_RCC_GPIOA_CLK_ENABLE();
  __HAL_RCC_GPIOD_CLK_ENABLE();
  __HAL_RCC_GPIOB_CLK_ENABLE();

  /*Configure GPIO pin : PA0 */
  GPIO_InitStruct.Pin = GPIO_PIN_0;
  GPIO_InitStruct.Mode = GPIO_MODE_IT_RISING;
  GPIO_InitStruct.Pull = GPIO_PULLDOWN;
  HAL_GPIO_Init(GPIOA, &GPIO_InitStruct);

  /* EXTI interrupt init*/
  HAL_NVIC_SetPriority(EXTI0_IRQn, 0, 0);
  HAL_NVIC_EnableIRQ(EXTI0_IRQn);

}

void Error_Handler(void)
{
  __disable_irq();
  while (1)
  {
  }
}
